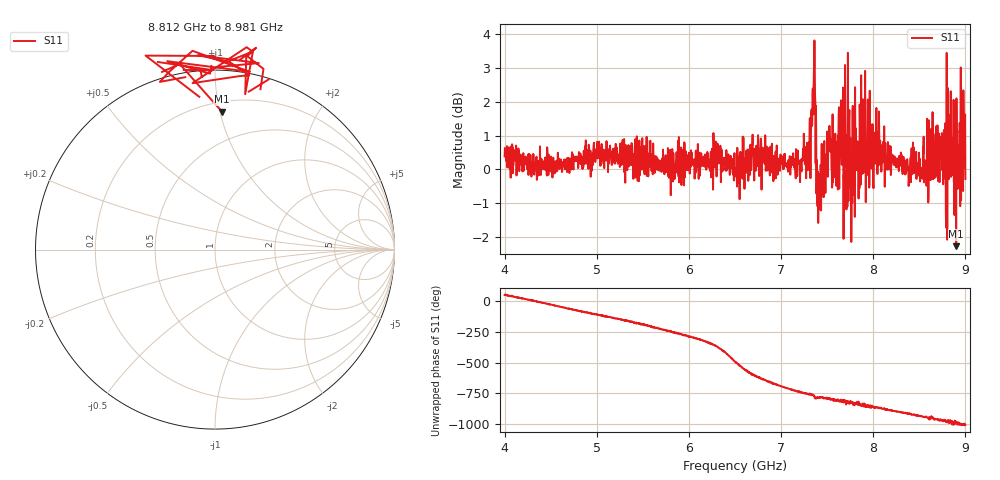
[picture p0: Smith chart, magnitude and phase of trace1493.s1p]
! Created with skrf 1.8.0 (http://scikit-rf.org).
# Hz S RI R 50.0
!freq ReS11 ImS11
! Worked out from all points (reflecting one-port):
!   1601 points, 4 GHz to 9 GHz, reference 50 ohm
!   lowest |S11| = -2.3 dB at 8.9 GHz (marker M1), VSWR 7.68, Z = 13.5 + j50.7 ohm
!   phase of S11 starts at 46 deg and turns -1051 deg over the sweep
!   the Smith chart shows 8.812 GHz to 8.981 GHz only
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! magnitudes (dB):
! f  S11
! 4 GHz  0.4
! 4.625 GHz  -0.1
! 5.25 GHz  0.1
! 5.875 GHz  0.4
! 6.331 GHz  0.4
! 6.5 GHz  -0.2
! 6.678 GHz  0.1
! 7.125 GHz  0.3
! 7.297 GHz  0.1
! 7.353 GHz  2.4
! 7.409 GHz  -0.9
! 7.512 GHz  0.9
! 7.591 GHz  0.6
! 7.647 GHz  1.1
! 7.694 GHz  3.1
! 7.719 GHz  -1.1
! 7.75 GHz  0.9
! 7.775 GHz  1.7
! 7.891 GHz  0.1
! 7.981 GHz  0.0
! 8.375 GHz  0.1
! 8.575 GHz  -0.1
! 8.656 GHz  0.5
! 8.766 GHz  1.2
! 8.819 GHz  -0.3
! 8.9 GHz  -2.3
! 8.972 GHz  0.4
! 9 GHz  -0.3
